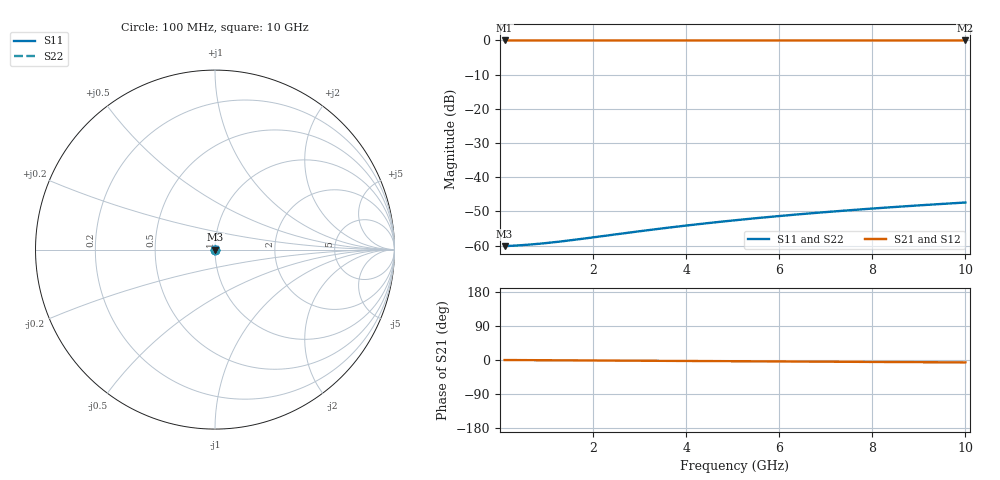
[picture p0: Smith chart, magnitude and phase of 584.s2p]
# Hz S RI R 50.00
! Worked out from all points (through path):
!   100 points, 100 MHz to 10 GHz, reference 50 ohm
!   highest |S21| = -0.01 dB at 100 MHz (marker M1); lowest = 0.0 dB at 10 GHz (marker M2)
!   lowest |S11| = -60.2 dB at 100 MHz (marker M3), VSWR 1.00, Z = 50.1 + j0.00409 ohm
!   |S11| at or under -10 dB: start of sweep to end of sweep
!   |S22| runs from -60.2 to -47.4 dB; largest |S21 - S12| = 0
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1e8  0.000981 4.08e-05  0.999 -0.00111  0.999 -0.00111  0.000981 4.08e-05
5e8  0.000999 0.000204  0.999 -0.00555  0.999 -0.00555  0.000999 0.000204
7e8  0.001 0.000286  0.999 -0.00776  0.999 -0.00776  0.001 0.000286
9e8  0.00101 0.000367  0.9989 -0.00998  0.9989 -0.00998  0.00101 0.000367
1.1e9  0.00101 0.000449  0.9989 -0.0122  0.9989 -0.0122  0.00101 0.000449
1.3e9  0.00102 0.00053  0.9989 -0.0144  0.9989 -0.0144  0.00102 0.00053
1.5e9  0.00102 0.000611  0.9988 -0.0166  0.9988 -0.0166  0.00102 0.000611
1.8e9  0.00103 0.000733  0.9988 -0.02  0.9988 -0.02  0.00103 0.000733
2.8e9  0.00106 0.00114  0.9985 -0.0311  0.9985 -0.0311  0.00106 0.00114
3.4e9  0.00108 0.00138  0.9982 -0.0377  0.9982 -0.0377  0.00108 0.00138
3.8e9  0.0011 0.00154  0.998 -0.0421  0.998 -0.0421  0.0011 0.00154
4.2e9  0.00112 0.0017  0.9978 -0.0466  0.9978 -0.0466  0.00112 0.0017
4.6e9  0.00113 0.00186  0.9976 -0.051  0.9976 -0.051  0.00113 0.00186
5.1e9  0.00116 0.00206  0.9973 -0.0566  0.9973 -0.0566  0.00116 0.00206
5.5e9  0.00118 0.00222  0.997 -0.061  0.997 -0.061  0.00118 0.00222
5.9e9  0.0012 0.00238  0.9967 -0.0654  0.9967 -0.0654  0.0012 0.00238
6.3e9  0.00123 0.00254  0.9964 -0.0699  0.9964 -0.0699  0.00123 0.00254
6.7e9  0.00125 0.0027  0.9961 -0.0743  0.9961 -0.0743  0.00125 0.0027
7.5e9  0.00131 0.00301  0.9954 -0.0832  0.9954 -0.0832  0.00131 0.00301
8.4e9  0.00138 0.00337  0.9945 -0.0932  0.9945 -0.0932  0.00138 0.00337
9.2e9  0.00145 0.00368  0.9936 -0.102  0.9936 -0.102  0.00145 0.00368
1e10  0.00152 0.00399  0.9926 -0.1109  0.9926 -0.1109  0.00152 0.00399
